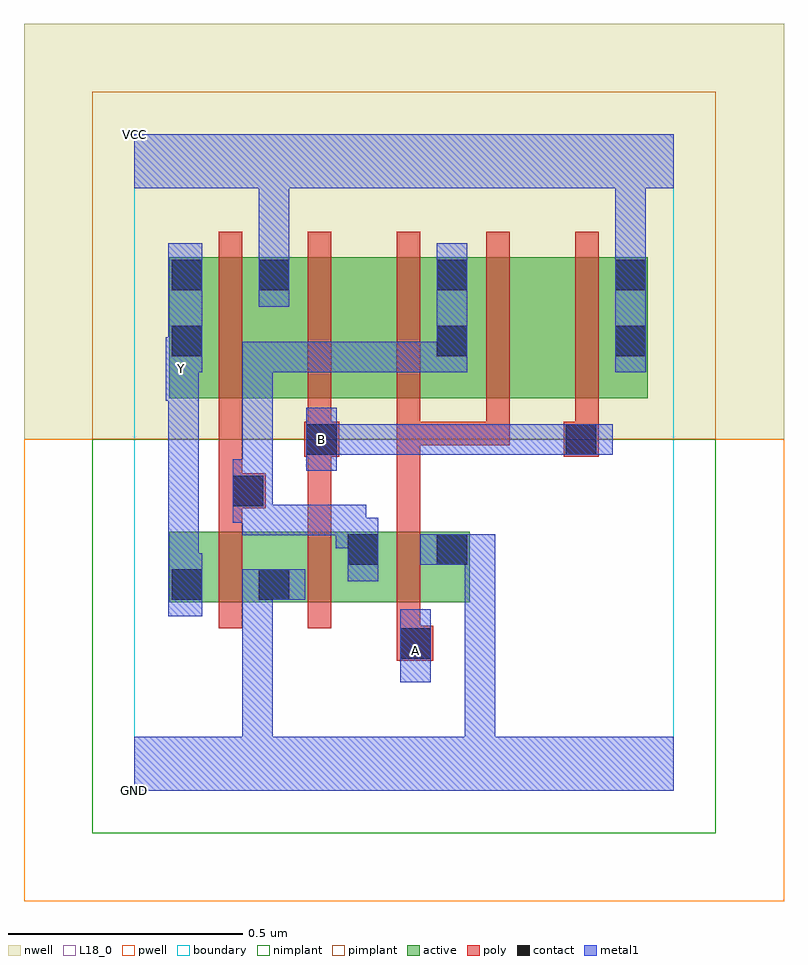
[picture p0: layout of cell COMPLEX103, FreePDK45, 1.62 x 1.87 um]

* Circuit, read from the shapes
.subckt COMPLEX103 A B GND VCC Y
M1 GND n1 Y VSUBS nfet w=0.15u l=0.05u
M2 n1 B GND VSUBS nfet w=0.15u l=0.05u
M3 GND A n1 VSUBS nfet w=0.15u l=0.05u
M4 VCC n1 Y n2 pfet w=0.3u l=0.05u
M5 n3 B VCC n2 pfet w=0.3u l=0.05u
M6 n1 A n3 n2 pfet w=0.3u l=0.05u
M7 n4 A n1 n2 pfet w=0.3u l=0.05u
M8 VCC B n4 n2 pfet w=0.3u l=0.05u
.ends

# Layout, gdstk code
import gdstk
lib = gdstk.Library(unit=1e-6, precision=1e-09)
def R(c, l, rs):  # rectangles x0, y0, x1, y1
    for r in rs: c.add(gdstk.rectangle(r[:2], r[2:], *l))
def A(c, l, x, y, w, h, nx, ny, dx, dy):  # array of equal rectangles
    R(c, l, [(x+i*dx, y+j*dy, x+i*dx+w, y+j*dy+h) for i in range(nx) for j in range(ny)])
active = (1, 0)
pwell = (2, 0)
nwell = (3, 0)
nimplant = (4, 0)
pimplant = (5, 0)
poly = (9, 0)
contact = (10, 0)
metal1 = (11, 0)
L18_0 = (18, 0)
boundary = (235, 0)

complex103 = lib.new_cell('COMPLEX103')
R(complex103, active, [(0.075,0.402,0.15,0.552), (0.075,0.402,0.335,0.552), (0.26,0.402,0.525,0.552), (0.26,0.402,0.335,0.477), (0.45,0.402,0.525,0.552), (0.45,0.402,0.715,0.552), (0.64,0.402,0.715,0.552), (0.075,0.837,0.15,1.137), (0.075,0.837,0.335,1.137), (0.26,0.837,0.49,1.137), (0.49,0.837,0.715,1.137), (0.64,0.837,0.715,1.137), (0.64,0.837,0.87,1.137), (0.87,0.837,1.095,1.137), (1.02,0.837,1.095,1.137), (0.26,1.007,0.335,1.137)])
R(complex103, pwell, [(-0.235,-0.235,1.385,0.75)])
R(complex103, nwell, [(-0.235,0.75,1.385,1.635)])
R(complex103, nimplant, [(-0.09,-0.09,1.24,0.75)])
R(complex103, pimplant, [(-0.09,0.75,1.24,1.49)])
A(complex103, poly, 0.18, 0.347, 0.05, 0.26, 3, 1, 0.19, 0)
A(complex103, poly, 0.37, 0.737, 0.05, 0.095, 4, 1, 0.19, 0)
A(complex103, poly, 0.18, 0.782, 0.05, 0.41, 5, 1, 0.19, 0)
R(complex103, poly, [(0.56,0.277,0.637,0.352), (0.56,0.302,0.61,0.397), (0.18,0.557,0.23,0.652), (0.37,0.557,0.42,0.762), (0.56,0.557,0.61,0.787), (0.18,0.602,0.28,0.677), (0.18,0.627,0.23,0.832), (0.362,0.712,0.437,0.787), (0.915,0.712,0.99,0.787), (0.56,0.737,0.61,0.787), (0.56,0.737,0.8,0.787), (0.75,0.737,0.8,0.787), (0.75,0.737,0.8,0.787), (0.75,0.737,0.8,0.787)])
A(complex103, contact, 0.265, 1.067, 0.065, 0.065, 3, 1, 0.38, 0)
R(complex103, contact, [(0.567,0.282,0.632,0.347), (0.08,0.407,0.145,0.472), (0.265,0.407,0.33,0.472), (0.455,0.482,0.52,0.547), (0.645,0.482,0.71,0.547), (0.21,0.607,0.275,0.672), (0.367,0.717,0.432,0.782), (0.92,0.717,0.985,0.782), (0.08,0.927,0.145,0.992), (0.645,0.927,0.71,0.992), (1.025,0.927,1.09,0.992), (0.08,1.067,0.145,1.132)])
R(complex103, metal1, [(0,0,1.15,0.115), (0.23,0.05,0.295,0.472), (0.705,0.05,0.77,0.115), (0.705,0.05,0.77,0.115), (0.705,0.05,0.77,0.547), (0.567,0.232,0.632,0.387), (0.072,0.372,0.145,0.507), (0.23,0.407,0.295,0.472), (0.23,0.407,0.295,0.472), (0.23,0.407,0.295,0.472), (0.23,0.407,0.295,0.472), (0.23,0.407,0.295,0.472), (0.23,0.407,0.295,0.472), (0.23,0.407,0.365,0.472), (0.072,0.442,0.137,0.897), (0.455,0.447,0.52,0.582), (0.61,0.482,0.77,0.547), (0.705,0.482,0.77,0.547), (0.705,0.482,0.77,0.547), (0.705,0.482,0.77,0.547), (0.705,0.482,0.77,0.547), (0.43,0.517,0.52,0.582), (0.43,0.517,0.495,0.61), (0.23,0.545,0.295,0.61), (0.23,0.545,0.495,0.61), (0.23,0.545,0.295,0.637), (0.21,0.572,0.275,0.707), (0.21,0.572,0.295,0.637), (0.23,0.572,0.295,0.637), (0.23,0.572,0.295,0.957), (0.367,0.682,0.432,0.817), (0.367,0.717,0.432,0.782), (0.367,0.717,0.432,0.782), (0.367,0.717,0.635,0.782), (0.57,0.717,0.635,0.782), (0.57,0.717,0.772,0.782), (0.707,0.717,0.772,0.782), (0.707,0.717,0.772,0.782), (0.707,0.717,0.772,0.782), (0.707,0.717,0.95,0.782), (0.885,0.717,0.95,0.782), (0.885,0.717,0.95,0.782), (0.885,0.717,1.02,0.782), (0.067,0.832,0.137,0.967), (0.072,0.892,0.137,0.957), (0.072,0.892,0.145,1.167), (0.23,0.892,0.295,0.957), (0.23,0.892,0.495,0.957), (0.43,0.892,0.495,0.957), (0.43,0.892,0.495,0.957), (0.43,0.892,0.495,0.957), (0.43,0.892,0.632,0.957), (0.567,0.892,0.632,0.957), (0.567,0.892,0.71,0.957), (0.645,0.892,0.71,1.167), (1.025,0.892,1.09,1.167), (0.265,1.032,0.33,1.167), (0.265,1.102,0.33,1.35), (1.025,1.102,1.09,1.167), (1.025,1.102,1.09,1.167), (1.025,1.102,1.09,1.35), (0,1.285,1.15,1.4), (0.265,1.285,0.33,1.35), (0.265,1.285,0.33,1.35)])
R(complex103, L18_0, [(0,0,1.15,0.115), (0.23,0.05,0.295,0.472), (0.705,0.05,0.77,0.115), (0.705,0.05,0.77,0.115), (0.705,0.05,0.77,0.547), (0.567,0.232,0.632,0.387), (0.567,0.267,0.632,0.332), (0.072,0.372,0.145,0.507), (0.23,0.407,0.295,0.472), (0.23,0.407,0.295,0.472), (0.23,0.407,0.295,0.472), (0.23,0.407,0.295,0.472), (0.23,0.407,0.295,0.472), (0.23,0.407,0.295,0.472), (0.23,0.407,0.365,0.472), (0.072,0.442,0.137,0.897), (0.61,0.482,0.77,0.547), (0.705,0.482,0.77,0.547), (0.705,0.482,0.77,0.547), (0.705,0.482,0.77,0.547), (0.705,0.482,0.77,0.547), (0.367,0.682,0.432,0.817), (0.367,0.717,0.432,0.782), (0.367,0.717,0.432,0.782), (0.367,0.717,0.432,0.782), (0.367,0.717,0.635,0.782), (0.57,0.717,0.635,0.782), (0.57,0.717,0.772,0.782), (0.707,0.717,0.772,0.782), (0.707,0.717,0.772,0.782), (0.707,0.717,0.772,0.782), (0.707,0.717,0.95,0.782), (0.885,0.717,0.95,0.782), (0.885,0.717,0.95,0.782), (0.885,0.717,1.02,0.782), (0.067,0.832,0.137,0.967), (0.067,0.867,0.132,0.932), (0.072,0.892,0.145,1.167), (0.072,0.892,0.137,0.957), (1.025,0.892,1.09,1.167), (0.265,1.032,0.33,1.167), (0.265,1.102,0.33,1.35), (1.025,1.102,1.09,1.167), (1.025,1.102,1.09,1.167), (1.025,1.102,1.09,1.35), (0,1.285,1.15,1.4), (0.265,1.285,0.33,1.35), (0.265,1.285,0.33,1.35)])
R(complex103, boundary, [(0,0,1.15,1.4)])
complex103.add(gdstk.Label('A', (0.6,0.3), layer=11, texttype=0))
complex103.add(gdstk.Label('B', (0.4,0.75), layer=11, texttype=0))
complex103.add(gdstk.Label('Y', (0.1,0.9), layer=11, texttype=0))
complex103.add(gdstk.Label('VCC', (0,1.4), layer=11, texttype=0))
complex103.add(gdstk.Label('GND', (0,0), layer=11, texttype=0))

lib.write_gds('COMPLEX103.gds')
